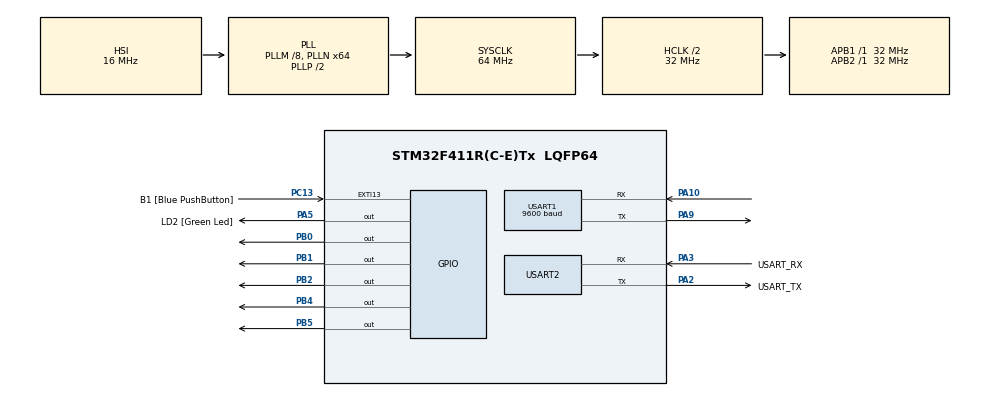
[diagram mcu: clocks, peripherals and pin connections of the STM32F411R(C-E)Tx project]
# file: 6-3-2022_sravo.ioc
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Mcu.Family=STM32F4
Mcu.Name=STM32F411R(C-E)Tx
Mcu.Package=LQFP64
NVIC.PriorityGroup=NVIC_PRIORITYGROUP_0
NVIC.TIM3_IRQn=true\:0\:0\:false\:false\:true\:true\:true
PA10.Mode=Asynchronous
PA10.Signal=USART1_RX
PA13.GPIO_Label=TMS
PA13.Mode=Serial_Wire
PA13.Signal=SYS_JTMS-SWDIO
PA14.GPIO_Label=TCK
PA14.Mode=Serial_Wire
PA14.Signal=SYS_JTCK-SWCLK
PA2.GPIO_Label=USART_TX
PA2.Mode=Asynchronous
PA2.Signal=USART2_TX
PA3.GPIO_Label=USART_RX
PA3.Mode=Asynchronous
PA3.Signal=USART2_RX
PA5.GPIO_Label=LD2 [Green Led]
PA5.Signal=GPIO_Output
PA9.Mode=Asynchronous
PA9.Signal=USART1_TX
PB0.Signal=GPIO_Output
PB1.Signal=GPIO_Output
PB2.Signal=GPIO_Output
PB3.GPIO_Label=SWO
PB3.Signal=SYS_JTDO-SWO
PB4.Signal=GPIO_Output
PB5.Signal=GPIO_Output
PC13-ANTI_TAMP.GPIO_Label=B1 [Blue PushButton]
PC13-ANTI_TAMP.GPIO_ModeDefaultEXTI=GPIO_MODE_IT_FALLING
PC13-ANTI_TAMP.Signal=GPXTI13
PC14-OSC32_IN.Mode=LSE-External-Oscillator
PC14-OSC32_IN.Signal=RCC_OSC32_IN
PC15-OSC32_OUT.Mode=LSE-External-Oscillator
PC15-OSC32_OUT.Signal=RCC_OSC32_OUT
PH0\ -\ OSC_IN.Mode=HSE-External-Clock-Source
PH0\ -\ OSC_IN.Signal=RCC_OSC_IN
PH1\ -\ OSC_OUT.Mode=HSE-External-Clock-Source
PH1\ -\ OSC_OUT.Signal=RCC_OSC_OUT
ProjectManager.HeapSize=0x200
ProjectManager.StackSize=0x400
ProjectManager.TargetToolchain=STM32CubeIDE
RCC.48MHZClocksFreq_Value=32000000
RCC.AHBCLKDivider=RCC_SYSCLK_DIV2
RCC.AHBFreq_Value=32000000
RCC.APB1Freq_Value=32000000
RCC.APB1TimFreq_Value=32000000
RCC.APB2Freq_Value=32000000
RCC.APB2TimFreq_Value=32000000
RCC.CortexFreq_Value=32000000
RCC.FLatency-AdvancedSettings=FLASH_LATENCY_1
RCC.HCLKFreq_Value=32000000
RCC.HSE_VALUE=8000000
RCC.HSI_VALUE=16000000
RCC.PLLM=8
RCC.PLLN=64
RCC.SYSCLKFreq_VALUE=64000000
RCC.SYSCLKSource=RCC_SYSCLKSOURCE_PLLCLK
RCC.VCOOutputFreq_Value=128000000
TIM3.Period=1000
TIM3.Prescaler=32000
USART1.BaudRate=9600
USART1.VirtualMode=VM_ASYNC
USART2.VirtualMode=VM_ASYNC
VP_TIM3_VS_ClockSourceINT.Mode=Internal
board=NUCLEO-F411RE

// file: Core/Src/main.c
/* USER CODE BEGIN Header */
/**
  ******************************************************************************
  * @file           : main.c
  * @brief          : Main program body
  ******************************************************************************
  * @attention
  *
  * Copyright (c) 2022 STMicroelectronics.
  * All rights reserved.
  *
  * This software is licensed under terms that can be found in the LICENSE file
  * in the root directory of this software component.
  * If no LICENSE file comes with this software, it is provided AS-IS.
  *
  ******************************************************************************
  */
/* USER CODE END Header */
#include "main.h"
#include "tim.h"
#include "usart.h"
#include "gpio.h"

/* USER CODE BEGIN Includes */

#include "stepper_manual.h"
#include <stdio.h>

/* USER CODE END Includes */

void SystemClock_Config(void);

/* USER CODE BEGIN 0 */

uint8_t Rx_Data[6];     //. array for data from display

/* USER CODE END 0 */

int main(void)
{

  /* MCU Configuration--------------------------------------------------------*/

  /* Reset of all peripherals, Initializes the Flash interface and the Systick. */
  HAL_Init();

  /* Configure the system clock */
  SystemClock_Config();

  /* Initialize all configured peripherals */
  MX_GPIO_Init();
  MX_USART2_UART_Init();
  MX_TIM3_Init();
  MX_USART1_UART_Init();
  /* USER CODE BEGIN 2 */
  HAL_TIM_Base_Start_IT(&htim3);	//. interrupt

  /* USER CODE END 2 */

  /* Infinite loop */
  while (1)
  {

    /* USER CODE BEGIN 3 */

	 int  LX_to_back  = 0;	  int  LZ_go_in  = 0;	 int  RX_to_back  = 0;		int  RZ_go_in  = 0;
	 int  LX_to_front = 0;	  int  LZ_go_out = 0;	 int  RX_to_front = 0;		int  RZ_go_out = 0;
	 int  LY_to_top   = 0;	  int  LW_cw     = 0;	 int  RY_to_top   = 0;		int  RW_cw     = 0;
	 int  LY_to_below = 0;	  int  LW_ccw    = 0;	 int  RY_to_below = 0;		int  RW_ccw    = 0;

	 HAL_UART_Receive(&huart1, Rx_Data, 6, 1000);                          //. 1000 = time delay

	 if ((Rx_Data[1] == 0x30) && (Rx_Data[2] == 0x34) && (Rx_Data[3] == 0x30) && (Rx_Data[4] == 0x33))  LX_to_back  = 1;	//. if manual LX to back  = pressed (page 04 button 03)
	 if ((Rx_Data[1] == 0x30) && (Rx_Data[2] == 0x34) && (Rx_Data[3] == 0x30) && (Rx_Data[4] == 0x34))  LX_to_front = 1;	//. if manual LX to front = pressed (page 04 button 04)
	 if ((Rx_Data[1] == 0x30) && (Rx_Data[2] == 0x35) && (Rx_Data[3] == 0x30) && (Rx_Data[4] == 0x33))  LY_to_top   = 1;	//. if manual LY to top   = pressed (page 05 button 03)
	 if ((Rx_Data[1] == 0x30) && (Rx_Data[2] == 0x35) && (Rx_Data[3] == 0x30) && (Rx_Data[4] == 0x34))  LY_to_below = 1;	//. if manual LY to BELOW = pressed (page 05 button 04)
	 if ((Rx_Data[1] == 0x30) && (Rx_Data[2] == 0x36) && (Rx_Data[3] == 0x30) && (Rx_Data[4] == 0x33))  LZ_go_in    = 1;	//. if manual LZ go in    = pressed (page 06 button 03)
	 if ((Rx_Data[1] == 0x30) && (Rx_Data[2] == 0x36) && (Rx_Data[3] == 0x30) && (Rx_Data[4] == 0x34))  LZ_go_out   = 1;	//. if manual LZ go out   = pressed (page 06 button 04)
	 if ((Rx_Data[1] == 0x30) && (Rx_Data[2] == 0x37) && (Rx_Data[3] == 0x30) && (Rx_Data[4] == 0x33))  LW_cw       = 1;	//. if manual LW cw       = pressed (page 07 button 03)
	 if ((Rx_Data[1] == 0x30) && (Rx_Data[2] == 0x37) && (Rx_Data[3] == 0x30) && (Rx_Data[4] == 0x34))  LW_ccw      = 1;	//. if manual LW ccw      = pressed (page 07 button 04)

	 if ((Rx_Data[1] == 0x30) && (Rx_Data[2] == 0x38) && (Rx_Data[3] == 0x30) && (Rx_Data[4] == 0x33))  RX_to_back  = 1;	//. if manual RX to back  = pressed (page 08 button 03)
	 if ((Rx_Data[1] == 0x30) && (Rx_Data[2] == 0x38) && (Rx_Data[3] == 0x30) && (Rx_Data[4] == 0x34))  RX_to_front = 1;	//. if manual RX to front = pressed (page 08 button 04)
	 if ((Rx_Data[1] == 0x30) && (Rx_Data[2] == 0x39) && (Rx_Data[3] == 0x30) && (Rx_Data[4] == 0x33))  RY_to_top   = 1;	//. if manual RY to top   = pressed (page 09 button 03)
	 if ((Rx_Data[1] == 0x30) && (Rx_Data[2] == 0x39) && (Rx_Data[3] == 0x30) && (Rx_Data[4] == 0x34))  RY_to_below = 1;	//. if manual RY to BELOW = pressed (page 09 button 04)
	 if ((Rx_Data[1] == 0x31) && (Rx_Data[2] == 0x30) && (Rx_Data[3] == 0x30) && (Rx_Data[4] == 0x33))  RZ_go_in    = 1;	//. if manual RZ go in    = pressed (page 10 button 03)
	 if ((Rx_Data[1] == 0x31) && (Rx_Data[2] == 0x30) && (Rx_Data[3] == 0x30) && (Rx_Data[4] == 0x34))  RZ_go_out   = 1;	//. if manual RZ go out   = pressed (page 10 button 04)
	 if ((Rx_Data[1] == 0x31) && (Rx_Data[2] == 0x31) && (Rx_Data[3] == 0x30) && (Rx_Data[4] == 0x33))  RW_cw       = 1;	//. if manual RW cw       = pressed (page 11 button 03)
	 if ((Rx_Data[1] == 0x31) && (Rx_Data[2] == 0x31) && (Rx_Data[3] == 0x30) && (Rx_Data[4] == 0x34))  RW_ccw      = 1;	//. if manual RW ccw      = pressed (page 11 button 04)

	 stepper_manual(LX_to_back, LX_to_front, LY_to_top, LY_to_below, LZ_go_in, LZ_go_out, LW_cw, LW_ccw,
	 	 		    RX_to_back, RX_to_front, RY_to_top, RY_to_below, RZ_go_in, RZ_go_out, RW_cw, RW_ccw  ); //. function call

  }
  /* USER CODE END 3 */
}

void SystemClock_Config(void)
{
  RCC_OscInitTypeDef RCC_OscInitStruct = {0};
  RCC_ClkInitTypeDef RCC_ClkInitStruct = {0};

  /** Configure the main internal regulator output voltage
  */
  __HAL_RCC_PWR_CLK_ENABLE();
  __HAL_PWR_VOLTAGESCALING_CONFIG(PWR_REGULATOR_VOLTAGE_SCALE1);
  /** Initializes the RCC Oscillators according to the specified parameters
  * in the RCC_OscInitTypeDef structure.
  */
  RCC_OscInitStruct.OscillatorType = RCC_OSCILLATORTYPE_HSI;
  RCC_OscInitStruct.HSIState = RCC_HSI_ON;
  RCC_OscInitStruct.HSICalibrationValue = RCC_HSICALIBRATION_DEFAULT;
  RCC_OscInitStruct.PLL.PLLState = RCC_PLL_ON;
  RCC_OscInitStruct.PLL.PLLSource = RCC_PLLSOURCE_HSI;
  RCC_OscInitStruct.PLL.PLLM = 8;
  RCC_OscInitStruct.PLL.PLLN = 64;
  RCC_OscInitStruct.PLL.PLLP = RCC_PLLP_DIV2;
  RCC_OscInitStruct.PLL.PLLQ = 4;
  if (HAL_RCC_OscConfig(&RCC_OscInitStruct) != HAL_OK)
  {
    Error_Handler();
  }
  /** Initializes the CPU, AHB and APB buses clocks
  */
  RCC_ClkInitStruct.ClockType = RCC_CLOCKTYPE_HCLK|RCC_CLOCKTYPE_SYSCLK
                              |RCC_CLOCKTYPE_PCLK1|RCC_CLOCKTYPE_PCLK2;
  RCC_ClkInitStruct.SYSCLKSource = RCC_SYSCLKSOURCE_PLLCLK;
  RCC_ClkInitStruct.AHBCLKDivider = RCC_SYSCLK_DIV2;
  RCC_ClkInitStruct.APB1CLKDivider = RCC_HCLK_DIV1;
  RCC_ClkInitStruct.APB2CLKDivider = RCC_HCLK_DIV1;

  if (HAL_RCC_ClockConfig(&RCC_ClkInitStruct, FLASH_LATENCY_1) != HAL_OK)
  {
    Error_Handler();
  }
}

/* USER CODE BEGIN 4 */
void HAL_TIM_PeriodElapsedCallback(TIM_HandleTypeDef *htim) //. interrupt timer3
{
//	HAL_GPIO_WritePin(GPIOA, GPIO_PIN_5, GPIO_PIN_SET);
//	HAL_Delay(1);
//	HAL_GPIO_WritePin(GPIOA, GPIO_PIN_5, GPIO_PIN_RESET);

	HAL_GPIO_TogglePin(GPIOA, GPIO_PIN_5);
}

/* USER CODE END 4 */

void Error_Handler(void)
{
  __disable_irq();
  while (1)
  {
  }
}
